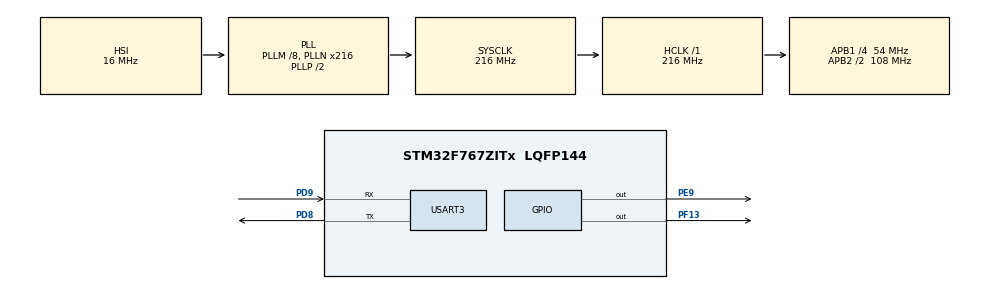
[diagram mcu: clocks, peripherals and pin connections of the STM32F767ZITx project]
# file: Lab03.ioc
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Mcu.Family=STM32F7
Mcu.Name=STM32F767ZITx
Mcu.Package=LQFP144
NVIC.PriorityGroup=NVIC_PRIORITYGROUP_4
PD8.Mode=Asynchronous
PD8.Signal=USART3_TX
PD9.Mode=Asynchronous
PD9.Signal=USART3_RX
PE9.Signal=GPIO_Output
PF13.Signal=GPIO_Output
ProjectManager.HeapSize=0x200
ProjectManager.StackSize=0x400
ProjectManager.TargetToolchain=STM32CubeIDE
RCC.AHBFreq_Value=216000000
RCC.APB1CLKDivider=RCC_HCLK_DIV4
RCC.APB1Freq_Value=54000000
RCC.APB1TimFreq_Value=108000000
RCC.APB2CLKDivider=RCC_HCLK_DIV2
RCC.APB2Freq_Value=108000000
RCC.APB2TimFreq_Value=216000000
RCC.CortexFreq_Value=216000000
RCC.HCLKFreq_Value=216000000
RCC.HSE_VALUE=25000000
RCC.HSI_VALUE=16000000
RCC.LSE_VALUE=32768
RCC.PLLM=8
RCC.PLLN=216
RCC.SYSCLKFreq_VALUE=216000000
RCC.SYSCLKSource=RCC_SYSCLKSOURCE_PLLCLK
RCC.USBFreq_Value=216000000
RCC.VCOOutputFreq_Value=432000000
USART3.VirtualMode-Asynchronous=VM_ASYNC
board=custom

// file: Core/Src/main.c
/* USER CODE BEGIN Header */
/**
  ******************************************************************************
  * @file           : main.c
  * @brief          : Main program body
  ******************************************************************************
  * @attention
  *
  * Copyright (c) 2022 STMicroelectronics.
  * All rights reserved.
  *
  * This software is licensed under terms that can be found in the LICENSE file
  * in the root directory of this software component.
  * If no LICENSE file comes with this software, it is provided AS-IS.
  *
  ******************************************************************************
  */
/* USER CODE END Header */
#include "main.h"
#include "usart.h"
#include "gpio.h"

/* USER CODE BEGIN Includes */
#include "string.h"
/* USER CODE END Includes */

void SystemClock_Config(void);

int main(void)
{

  /* MCU Configuration--------------------------------------------------------*/

  /* Reset of all peripherals, Initializes the Flash interface and the Systick. */
  HAL_Init();

  /* Configure the system clock */
  SystemClock_Config();

  /* Initialize all configured peripherals */
  MX_GPIO_Init();
  MX_USART3_UART_Init();
  /* USER CODE BEGIN 2 */
  //For No.4
  while(__HAL_UART_GET_FLAG(&huart3,UART_FLAG_TC)==RESET){}
  HAL_UART_Transmit(&huart3, (uint8_t*)"Display Blinking LED PRESS (1, 2)\r\nDisplay Group Members PRESS m\r\nQuit PRESS q\r\n\tInput => ", strlen("Display Blinking LED PRESS (1, 2)\r\nDisplay Group Members PRESS m\r\nQuit PRESS q\r\n\tInput => "), 1000);
  char in;
  HAL_GPIO_WritePin(GPIOF,GPIO_PIN_13,1);
  HAL_GPIO_WritePin(GPIOE,GPIO_PIN_9,1);
  /* USER CODE END 2 */

  /* Infinite loop */
  while (1)
  {

    /* USER CODE BEGIN 3 */
	  /*
	  //No.1
	  char str[] = "Hello World!!\r\n";
	  while(__HAL_UART_GET_FLAG(&huart3,UART_FLAG_TC)==RESET) {}
	  HAL_UART_Transmit(&huart3, (uint8_t*)str, strlen(str),1000);
	  HAL_Delay(500);
		*/

	  /*
	  //No.2
	  char ch1='A';
	  while(__HAL_UART_GET_FLAG(&huart3,UART_FLAG_TC)==RESET) {}
	  HAL_UART_Transmit(&huart3, (uint8_t*)&ch1, 1, 1000);
	  HAL_Delay(1000);
	  */

	  /*
	  //No.3
	  char ch1;
	  while(__HAL_UART_GET_FLAG(&huart3,UART_FLAG_TC)==RESET){}
	  HAL_UART_Transmit(&huart3, (uint8_t*)"Input => ", strlen("Input => "), 1000);

	  while(__HAL_UART_GET_FLAG(&huart3,UART_FLAG_RXNE)==RESET){}
	  HAL_UART_Receive(&huart3, (uint8_t*)&ch1, 1, 1000);

	  while(__HAL_UART_GET_FLAG(&huart3,UART_FLAG_TC)==RESET){}
	  HAL_UART_Transmit(&huart3, (uint8_t*)&ch1, 1, 1000);
	  HAL_UART_Transmit(&huart3, (uint8_t*)"\r\n", strlen("\r\n"), 1000);

	  if(ch1=='q') {
		  HAL_UART_Transmit(&huart3, (uint8_t*)"QUIT", 4, 1000);
		  break;
	  }
	  */

	  //No.4
	  while(__HAL_UART_GET_FLAG(&huart3,UART_FLAG_RXNE)==RESET) {}
	  HAL_UART_Receive(&huart3, (uint8_t*)&in, 1, 1000);
	  HAL_UART_Transmit(&huart3, (uint8_t*)&in, 1, 1000);
	  if(in =='1'){
		  for(int num = 0;num<3;num++){
			  HAL_GPIO_WritePin(GPIOF,GPIO_PIN_13,0);
			  HAL_Delay(300);
	  		  HAL_GPIO_WritePin(GPIOF,GPIO_PIN_13,1);
	  		  HAL_Delay(300);
		  }
		  HAL_UART_Transmit(&huart3, (uint8_t*)"\r\nInput => ", 11, 1000);
	  }
	  else if(in =='2'){
		  for(int num = 0;num<3;num++){
			  HAL_GPIO_WritePin(GPIOE,GPIO_PIN_9,0);
			  HAL_Delay(300);
			  HAL_GPIO_WritePin(GPIOE,GPIO_PIN_9,1);
			  HAL_Delay(300);
		  }
		  HAL_UART_Transmit(&huart3, (uint8_t*)"\r\nInput => ", 11, 1000);
	  }
	  else if(in =='m') {
		  HAL_UART_Transmit(&huart3, (uint8_t*)"\r\n62011044\r\nAckrawin Boonpuen\r\n", 29, 1000);
		  HAL_UART_Transmit(&huart3, (uint8_t*)"\r\nInput => ", 11, 1000);
	  }
	  else if(in =='q') {
		  HAL_UART_Transmit(&huart3, (uint8_t*)"\r\nQuit", 6, 1000);
		  break;
	  }
	  else {
		  HAL_UART_Transmit(&huart3, (uint8_t*)"\r\nUnknown Command\r\n", 17, 1000);
		  HAL_UART_Transmit(&huart3, (uint8_t*)"\r\nInput => ", 11, 1000);
	  }

  }
  /* USER CODE END 3 */
}

void SystemClock_Config(void)
{
  RCC_OscInitTypeDef RCC_OscInitStruct = {0};
  RCC_ClkInitTypeDef RCC_ClkInitStruct = {0};

  /** Configure the main internal regulator output voltage
  */
  __HAL_RCC_PWR_CLK_ENABLE();
  __HAL_PWR_VOLTAGESCALING_CONFIG(PWR_REGULATOR_VOLTAGE_SCALE1);
  /** Initializes the RCC Oscillators according to the specified parameters
  * in the RCC_OscInitTypeDef structure.
  */
  RCC_OscInitStruct.OscillatorType = RCC_OSCILLATORTYPE_HSI;
  RCC_OscInitStruct.HSIState = RCC_HSI_ON;
  RCC_OscInitStruct.HSICalibrationValue = RCC_HSICALIBRATION_DEFAULT;
  RCC_OscInitStruct.PLL.PLLState = RCC_PLL_ON;
  RCC_OscInitStruct.PLL.PLLSource = RCC_PLLSOURCE_HSI;
  RCC_OscInitStruct.PLL.PLLM = 8;
  RCC_OscInitStruct.PLL.PLLN = 216;
  RCC_OscInitStruct.PLL.PLLP = RCC_PLLP_DIV2;
  RCC_OscInitStruct.PLL.PLLQ = 2;
  RCC_OscInitStruct.PLL.PLLR = 2;
  if (HAL_RCC_OscConfig(&RCC_OscInitStruct) != HAL_OK)
  {
    Error_Handler();
  }
  /** Activate the Over-Drive mode
  */
  if (HAL_PWREx_EnableOverDrive() != HAL_OK)
  {
    Error_Handler();
  }
  /** Initializes the CPU, AHB and APB buses clocks
  */
  RCC_ClkInitStruct.ClockType = RCC_CLOCKTYPE_HCLK|RCC_CLOCKTYPE_SYSCLK
                              |RCC_CLOCKTYPE_PCLK1|RCC_CLOCKTYPE_PCLK2;
  RCC_ClkInitStruct.SYSCLKSource = RCC_SYSCLKSOURCE_PLLCLK;
  RCC_ClkInitStruct.AHBCLKDivider = RCC_SYSCLK_DIV1;
  RCC_ClkInitStruct.APB1CLKDivider = RCC_HCLK_DIV4;
  RCC_ClkInitStruct.APB2CLKDivider = RCC_HCLK_DIV2;

  if (HAL_RCC_ClockConfig(&RCC_ClkInitStruct, FLASH_LATENCY_7) != HAL_OK)
  {
    Error_Handler();
  }
}

void Error_Handler(void)
{
  __disable_irq();
  while (1)
  {
  }
}
